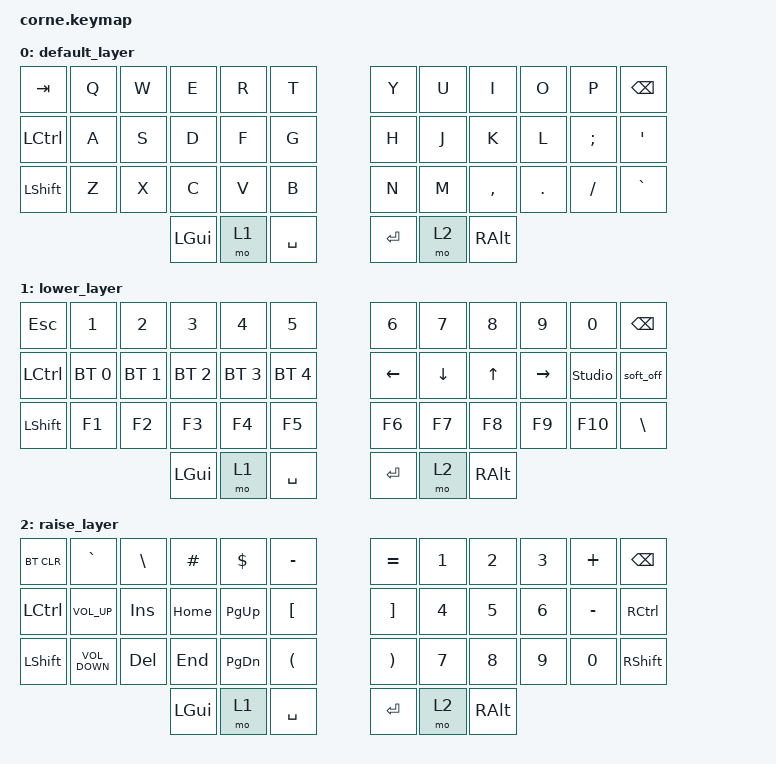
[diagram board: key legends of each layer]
/*
 * Copyright (c) 2020 The ZMK Contributors
 *
 * SPDX-License-Identifier: MIT
 */

#include <behaviors.dtsi>
#include <dt-bindings/zmk/bt.h>
#include <dt-bindings/zmk/keys.h>
#include <dt-bindings/zmk/ext_power.h>

#define ZMK_POINTING_DEFAULT_SCRL_VAL 25
#define LOWER   1
#define RAISE   2

// nice_view connected with control pin 8 together with LEDs
&nice_view_spi {
    cs-gpios = <&pro_micro 8 GPIO_ACTIVE_HIGH>;
};

/ {
    keymap {
        compatible = "zmk,keymap";

        default_layer {
            bindings = <
&kp TAB    &kp Q  &kp W  &kp E     &kp R  &kp T        &kp Y      &kp U  &kp I      &kp O    &kp P     &kp BSPC
&kp LCTRL  &kp A  &kp S  &kp D     &kp F  &kp G        &kp H      &kp J  &kp K      &kp L    &kp SEMI  &kp SINGLE_QUOTE
&kp LSHFT  &kp Z  &kp X  &kp C     &kp V  &kp B        &kp N      &kp M  &kp COMMA  &kp DOT  &kp FSLH  &kp GRAVE
                         &kp LGUI  &mo 1  &kp SPACE    &kp ENTER  &mo 2  &kp RALT
            >;
        };

        lower_layer {
            bindings = <
&kp ESC    &kp NUMBER_1  &kp NUMBER_2  &kp NUMBER_3  &kp NUMBER_4  &kp N5          &kp NUMBER_6  &kp N7    &kp N8    &kp NUMBER_9  &kp N0          &kp BACKSPACE
&kp LCTRL  &bt BT_SEL 0  &bt BT_SEL 1  &bt BT_SEL 2  &bt BT_SEL 3  &bt BT_SEL 4    &kp LEFT      &kp DOWN  &kp UP    &kp RIGHT     &studio_unlock  &soft_off
&kp LSHFT  &kp F1        &kp F2        &kp F3        &kp F4        &kp F5          &kp F6        &kp F7    &kp F8    &kp F9        &kp F10         &kp BACKSLASH
                                       &kp LGUI      &mo 1         &kp SPACE       &kp RETURN    &mo 2     &kp RALT
            >;
        };

        raise_layer {
            bindings = <
&bt BT_CLR  &kp GRAVE          &kp BACKSLASH  &kp POUND  &kp DOLLAR     &kp MINUS               &kp EQUAL              &kp NUMBER_1  &kp NUMBER_2  &kp NUMBER_3  &kp PLUS   &kp BACKSPACE
&kp LCTRL   &kp C_VOLUME_UP    &kp INSERT     &kp HOME   &kp PAGE_UP    &kp LEFT_BRACKET        &kp RIGHT_BRACKET      &kp NUMBER_4  &kp N5        &kp NUMBER_6  &kp MINUS  &kp RIGHT_CONTROL
&kp LSHFT   &kp C_VOLUME_DOWN  &kp DELETE     &kp END    &kp PAGE_DOWN  &kp LEFT_PARENTHESIS    &kp RIGHT_PARENTHESIS  &kp N7        &kp N8        &kp N9        &kp N0     &kp RSHFT
                                              &kp LGUI   &mo 1          &kp SPACE               &kp ENTER              &mo 2         &kp RALT
            >;
        };
    };

    conditional_layers {
        compatible = "zmk,conditional-layers";

        adjust_condition {
            if-layers = <1 3>;
            then-layer = <3>;
        };
    };
};
